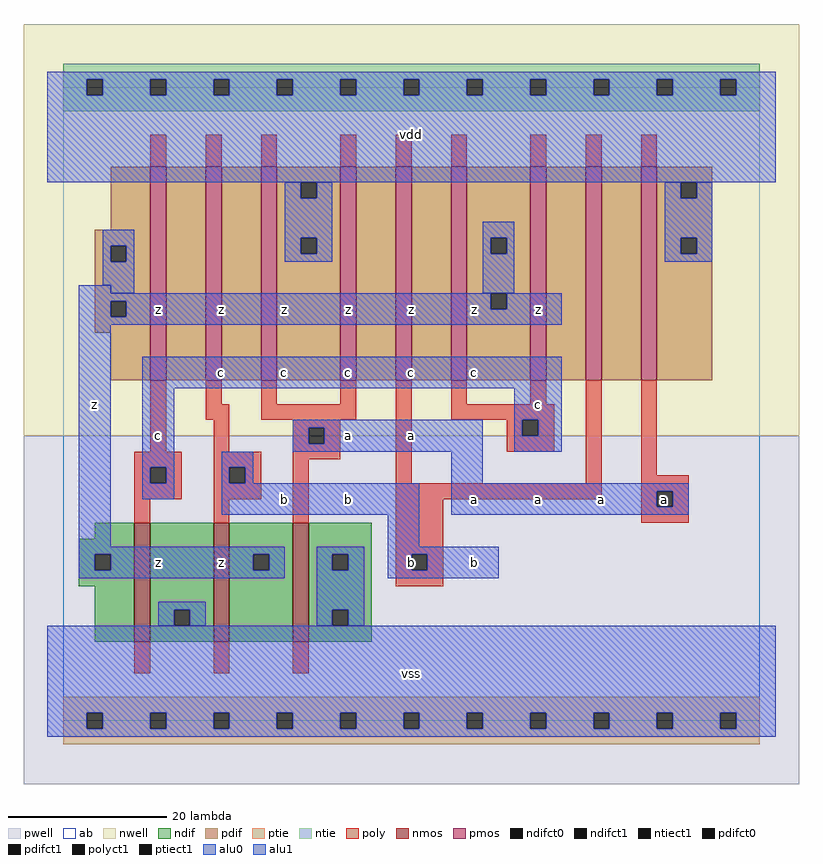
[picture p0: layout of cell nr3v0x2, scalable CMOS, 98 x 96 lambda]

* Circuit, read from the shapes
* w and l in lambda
.subckt nr3v0x2 a b c vdd vss z
M1 vss c z vss nfet w=15 l=2
M2 z b vss vss nfet w=15 l=2
M3 vss a z vss nfet w=15 l=2
M4 n1 c z vdd pfet w=27 l=2
M5 n2 b n1 vdd pfet w=27 l=2
M6 vdd a n2 vdd pfet w=27 l=2
M7 n3 a vdd vdd pfet w=27 l=2
M8 n4 b n3 vdd pfet w=27 l=2
M9 z c n4 vdd pfet w=27 l=2
M10 n5 c z vdd pfet w=27 l=2
M11 n6 b n5 vdd pfet w=27 l=2
M12 vdd a n6 vdd pfet w=27 l=2
.ends

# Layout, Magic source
magic
tech scmos
<< ab >>
rect 0 0 88 80
<< nwell >>
rect -5 36 93 88
<< pwell >>
rect -5 -8 93 36
<< poly >>
rect 11 70 13 74
rect 18 70 20 74
rect 25 70 27 74
rect 35 70 37 74
rect 42 70 44 74
rect 49 70 51 74
rect 59 70 61 74
rect 66 70 68 74
rect 73 70 75 74
rect 11 34 13 43
rect 18 40 20 43
rect 25 40 27 43
rect 35 40 37 43
rect 18 38 21 40
rect 25 38 37 40
rect 19 34 21 38
rect 29 37 35 38
rect 29 35 31 37
rect 33 35 35 37
rect 9 32 15 34
rect 9 30 11 32
rect 13 30 15 32
rect 9 28 15 30
rect 19 32 25 34
rect 19 30 21 32
rect 23 30 25 32
rect 19 28 25 30
rect 29 33 35 35
rect 9 25 11 28
rect 19 25 21 28
rect 29 25 31 33
rect 42 30 44 43
rect 49 40 51 43
rect 59 40 61 43
rect 49 38 62 40
rect 56 36 58 38
rect 60 36 62 38
rect 56 34 62 36
rect 66 30 68 43
rect 42 28 68 30
rect 73 31 75 43
rect 73 29 79 31
rect 42 21 48 28
rect 73 27 75 29
rect 77 27 79 29
rect 73 25 79 27
rect 42 19 44 21
rect 46 19 48 21
rect 42 17 48 19
rect 9 6 11 10
rect 19 6 21 10
rect 29 6 31 10
<< ndif >>
rect 4 23 9 25
rect 2 21 9 23
rect 2 19 4 21
rect 6 19 9 21
rect 2 17 9 19
rect 4 10 9 17
rect 11 14 19 25
rect 11 12 14 14
rect 16 12 19 14
rect 11 10 19 12
rect 21 21 29 25
rect 21 19 24 21
rect 26 19 29 21
rect 21 10 29 19
rect 31 21 39 25
rect 31 19 34 21
rect 36 19 39 21
rect 31 14 39 19
rect 31 12 34 14
rect 36 12 39 14
rect 31 10 39 12
<< pdif >>
rect 6 62 11 70
rect 4 60 11 62
rect 4 58 6 60
rect 8 58 11 60
rect 4 53 11 58
rect 4 51 6 53
rect 8 51 11 53
rect 4 49 11 51
rect 6 43 11 49
rect 13 43 18 70
rect 20 43 25 70
rect 27 68 35 70
rect 27 66 30 68
rect 32 66 35 68
rect 27 61 35 66
rect 27 59 30 61
rect 32 59 35 61
rect 27 43 35 59
rect 37 43 42 70
rect 44 43 49 70
rect 51 61 59 70
rect 51 59 54 61
rect 56 59 59 61
rect 51 54 59 59
rect 51 52 54 54
rect 56 52 59 54
rect 51 43 59 52
rect 61 43 66 70
rect 68 43 73 70
rect 75 68 82 70
rect 75 66 78 68
rect 80 66 82 68
rect 75 61 82 66
rect 75 59 78 61
rect 80 59 82 61
rect 75 43 82 59
<< alu1 >>
rect -2 81 90 82
rect -2 79 3 81
rect 5 79 11 81
rect 13 79 19 81
rect 21 79 27 81
rect 29 79 35 81
rect 37 79 43 81
rect 45 79 51 81
rect 53 79 59 81
rect 61 79 67 81
rect 69 79 75 81
rect 77 79 83 81
rect 85 79 90 81
rect -2 68 90 79
rect 2 54 6 55
rect 2 53 54 54
rect 2 51 6 53
rect 8 52 54 53
rect 56 52 63 54
rect 8 51 63 52
rect 2 50 63 51
rect 2 22 6 50
rect 10 42 63 46
rect 10 32 14 42
rect 57 38 63 42
rect 29 37 53 38
rect 29 35 31 37
rect 33 35 53 37
rect 29 34 53 35
rect 57 36 58 38
rect 60 36 63 38
rect 57 34 63 36
rect 10 30 11 32
rect 13 30 14 32
rect 10 28 14 30
rect 20 32 24 34
rect 20 30 21 32
rect 23 30 24 32
rect 49 30 53 34
rect 20 26 45 30
rect 49 29 79 30
rect 49 27 75 29
rect 77 27 79 29
rect 49 26 79 27
rect 41 22 45 26
rect 2 21 28 22
rect 2 19 4 21
rect 6 19 24 21
rect 26 19 28 21
rect 2 18 28 19
rect 41 21 55 22
rect 41 19 44 21
rect 46 19 55 21
rect 41 18 55 19
rect -2 1 90 12
rect -2 -1 3 1
rect 5 -1 11 1
rect 13 -1 19 1
rect 21 -1 27 1
rect 29 -1 35 1
rect 37 -1 43 1
rect 45 -1 51 1
rect 53 -1 59 1
rect 61 -1 67 1
rect 69 -1 75 1
rect 77 -1 83 1
rect 85 -1 90 1
rect -2 -2 90 -1
<< ptie >>
rect 0 1 88 3
rect 0 -1 3 1
rect 5 -1 11 1
rect 13 -1 19 1
rect 21 -1 27 1
rect 29 -1 35 1
rect 37 -1 43 1
rect 45 -1 51 1
rect 53 -1 59 1
rect 61 -1 67 1
rect 69 -1 75 1
rect 77 -1 83 1
rect 85 -1 88 1
rect 0 -3 88 -1
<< ntie >>
rect 0 81 88 83
rect 0 79 3 81
rect 5 79 11 81
rect 13 79 19 81
rect 21 79 27 81
rect 29 79 35 81
rect 37 79 43 81
rect 45 79 51 81
rect 53 79 59 81
rect 61 79 67 81
rect 69 79 75 81
rect 77 79 83 81
rect 85 79 88 81
rect 0 77 88 79
<< nmos >>
rect 9 10 11 25
rect 19 10 21 25
rect 29 10 31 25
<< pmos >>
rect 11 43 13 70
rect 18 43 20 70
rect 25 43 27 70
rect 35 43 37 70
rect 42 43 44 70
rect 49 43 51 70
rect 59 43 61 70
rect 66 43 68 70
rect 73 43 75 70
<< polyct1 >>
rect 31 35 33 37
rect 11 30 13 32
rect 21 30 23 32
rect 58 36 60 38
rect 75 27 77 29
rect 44 19 46 21
<< ndifct0 >>
rect 14 12 16 14
rect 34 19 36 21
rect 34 12 36 14
<< ndifct1 >>
rect 4 19 6 21
rect 24 19 26 21
<< ntiect1 >>
rect 3 79 5 81
rect 11 79 13 81
rect 19 79 21 81
rect 27 79 29 81
rect 35 79 37 81
rect 43 79 45 81
rect 51 79 53 81
rect 59 79 61 81
rect 67 79 69 81
rect 75 79 77 81
rect 83 79 85 81
<< ptiect1 >>
rect 3 -1 5 1
rect 11 -1 13 1
rect 19 -1 21 1
rect 27 -1 29 1
rect 35 -1 37 1
rect 43 -1 45 1
rect 51 -1 53 1
rect 59 -1 61 1
rect 67 -1 69 1
rect 75 -1 77 1
rect 83 -1 85 1
<< pdifct0 >>
rect 6 58 8 60
rect 30 66 32 68
rect 30 59 32 61
rect 54 59 56 61
rect 78 66 80 68
rect 78 59 80 61
<< pdifct1 >>
rect 6 51 8 53
rect 54 52 56 54
<< alu0 >>
rect 28 66 30 68
rect 32 66 34 68
rect 5 60 9 62
rect 5 58 6 60
rect 8 58 9 60
rect 28 61 34 66
rect 76 66 78 68
rect 80 66 82 68
rect 28 59 30 61
rect 32 59 34 61
rect 28 58 34 59
rect 53 61 57 63
rect 53 59 54 61
rect 56 59 57 61
rect 5 55 9 58
rect 6 54 9 55
rect 53 54 57 59
rect 76 61 82 66
rect 76 59 78 61
rect 80 59 82 61
rect 76 58 82 59
rect 32 21 38 22
rect 32 19 34 21
rect 36 19 38 21
rect 12 14 18 15
rect 12 12 14 14
rect 16 12 18 14
rect 32 14 38 19
rect 32 12 34 14
rect 36 12 38 14
<< labels >>
rlabel alu1 12 20 12 20 6 z
rlabel alu1 4 40 4 40 6 z
rlabel alu1 12 36 12 36 6 c
rlabel alu1 12 52 12 52 6 z
rlabel alu1 20 20 20 20 6 z
rlabel alu1 28 28 28 28 6 b
rlabel alu1 20 44 20 44 6 c
rlabel alu1 28 44 28 44 6 c
rlabel alu1 20 52 20 52 6 z
rlabel alu1 28 52 28 52 6 z
rlabel alu1 44 6 44 6 6 vss
rlabel alu1 36 28 36 28 6 b
rlabel alu1 44 20 44 20 6 b
rlabel alu1 36 36 36 36 6 a
rlabel alu1 36 44 36 44 6 c
rlabel alu1 44 36 44 36 6 a
rlabel alu1 44 44 44 44 6 c
rlabel alu1 44 52 44 52 6 z
rlabel alu1 36 52 36 52 6 z
rlabel alu1 44 74 44 74 6 vdd
rlabel alu1 52 20 52 20 6 b
rlabel alu1 52 28 52 28 6 a
rlabel alu1 60 28 60 28 6 a
rlabel alu1 68 28 68 28 6 a
rlabel alu1 52 44 52 44 6 c
rlabel alu1 60 40 60 40 6 c
rlabel alu1 60 52 60 52 6 z
rlabel alu1 52 52 52 52 6 z
rlabel polyct1 76 28 76 28 6 a
<< end >>
